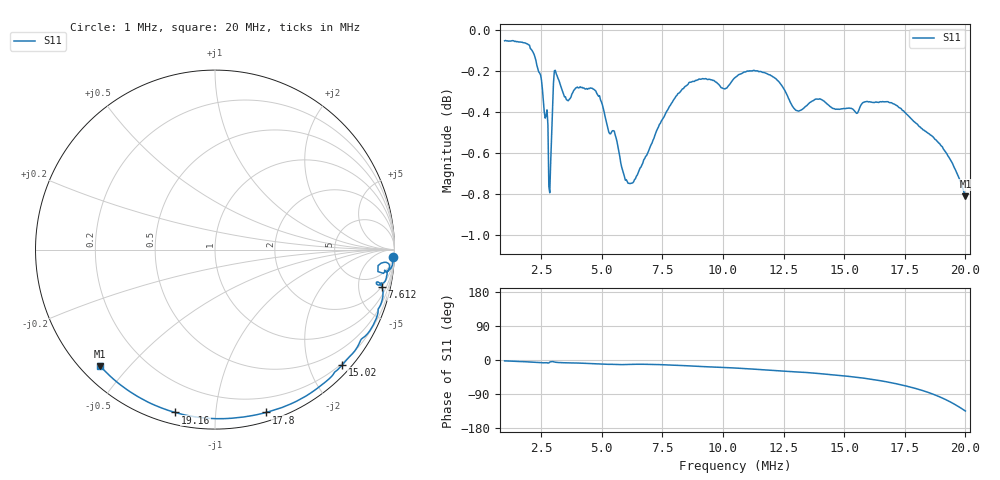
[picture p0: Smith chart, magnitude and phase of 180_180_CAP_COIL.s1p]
!Keysight Technologies N9918A: A.12.56
!Date: Monday, 07 July 2025 04:04:16
!TimeZone: (UTC-08:00) Pacific Time (US & Canada)!Model: N9918A
!Serial: MY56072139
!GPS Latitude:
!GPS Longitude:
!GPS TimeStamp: 0001-01-01 00:00:00Z
!GPS Seconds Since Last Read: 0
!CHECKSUM:0114059882
!Correction: S11(Rdy)
!S1P File: Measurement: S11:
# Hz S DB R 50
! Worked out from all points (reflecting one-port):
!   501 points, 1 MHz to 20 MHz, reference 50 ohm
!   lowest |S11| = -0.8 dB at 20 MHz (marker M1), VSWR 21.46, Z = 2.73 - j20.8 ohm
!   phase of S11 starts at -2 deg and turns -132 deg over the sweep
!   S11 on the Smith chart (normalised r, x): 1 MHz: 7, -48; 7.612 MHz: 1.87, -8.61; 15.02 MHz: 0.17, -2.59; 17.8 MHz: 0.07, -1.36; 19.16 MHz: 0.05, -0.78; 20 MHz: 0.05, -0.42
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1000000  -0.05 -2.3
2178000  -0.11 -5.8
2748000  -0.39 -7.2
2862000  -0.79 -5.6
2938000  -0.52 -4.3
3090000  -0.20 -5.8
3394000  -0.30 -7.2
4686000  -0.29 -9.8
5750000  -0.62 -12.3
6586000  -0.67 -11.2
7612000  -0.41 -12.7
8144000  -0.31 -14.1
1.05e7  -0.23 -21.2
1.1754e7  -0.21 -26.2
1.2894e7  -0.38 -31.1
1.3844e7  -0.34 -35.1
1.5022e7  -0.38 -42.1
1.525e7  -0.38 -43.7
1.582e7  -0.35 -48.0
1.658e7  -0.35 -55.6
1.7112e7  -0.36 -62.2
1.7644e7  -0.42 -70.0
1.7796e7  -0.44 -72.5
1.848e7  -0.50 -85.8
1.886e7  -0.54 -95.1
1.9164e7  -0.59 -103.8
1.9582e7  -0.68 -117.9
2e7  -0.81 -134.7
